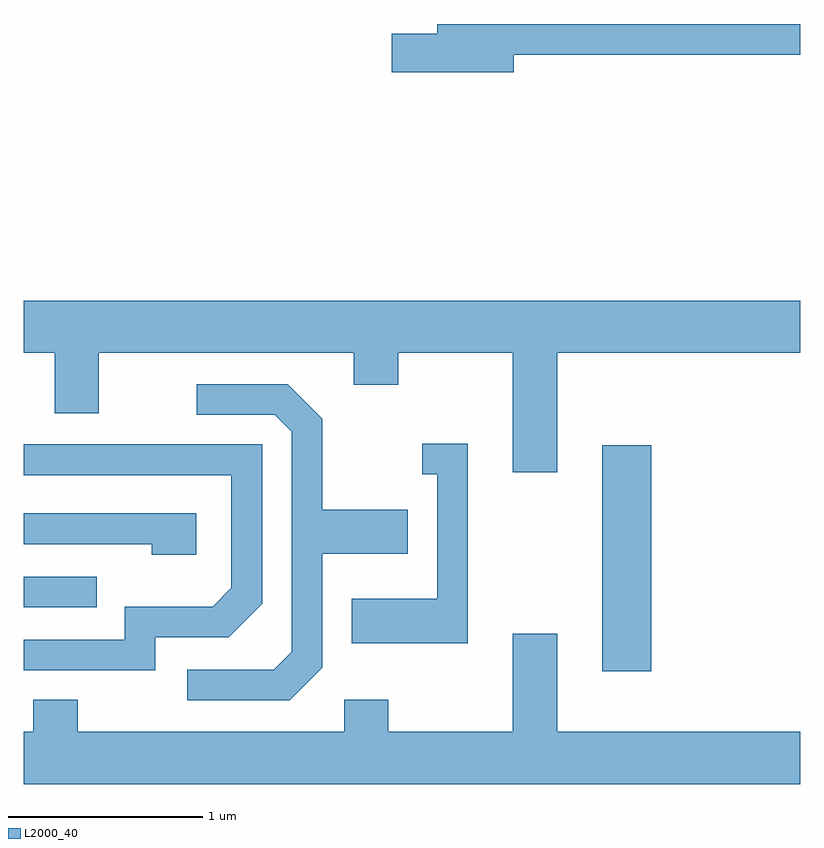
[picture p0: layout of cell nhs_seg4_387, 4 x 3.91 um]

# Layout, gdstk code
import gdstk
lib = gdstk.Library(unit=1e-6, precision=1e-09)
def R(c, l, rs):  # rectangles x0, y0, x1, y1
    for r in rs: c.add(gdstk.rectangle(r[:2], r[2:], *l))
def P(c, l, *ps):  # polygons
    for p in ps: c.add(gdstk.Polygon(p, *l))
L2000_40 = (2000, 40)

nhs_seg4_387 = lib.new_cell('nhs_seg4_387')
R(nhs_seg4_387, L2000_40, [(198.591,1348.596,198.844,1349.759), (195.611,1348.926,195.988,1349.084)])
P(nhs_seg4_387, L2000_40, [(198.134,1351.771),(199.611,1351.771),(199.611,1351.929),(197.741,1351.929),(197.741,1351.879),(197.506,1351.879),(197.506,1351.681),(198.134,1351.681)],
  [(198.359,1350.236),(199.611,1350.236),(199.611,1350.504),(195.611,1350.504),(195.611,1350.236),(195.771,1350.236),(195.771,1349.926),(195.999,1349.926),(195.999,1350.236),(197.311,1350.236),(197.311,1350.071),(197.539,1350.071),(197.539,1350.236),(198.131,1350.236),(198.131,1349.621),(198.359,1349.621)],
  [(197.149,1348.614),(197.149,1349.201),(197.589,1349.201),(197.589,1349.429),(197.149,1349.429),(197.149,1349.897),(196.972,1350.074),(196.503,1350.074),(196.503,1349.916),(196.904,1349.916),(196.991,1349.829),(196.991,1348.697),(196.899,1348.604),(196.453,1348.604),(196.453,1348.446),(196.982,1348.446)],
  [(197.899,1349.769),(197.663,1349.769),(197.663,1349.611),(197.741,1349.611),(197.741,1348.969),(197.301,1348.969),(197.301,1348.741),(197.899,1348.741)],
  [(196.289,1348.771),(196.667,1348.771),(196.839,1348.944),(196.839,1349.764),(195.611,1349.764),(195.611,1349.606),(196.681,1349.606),(196.681,1349.027),(196.584,1348.929),(196.131,1348.929),(196.131,1348.759),(195.611,1348.759),(195.611,1348.601),(196.289,1348.601)],
  [(196.499,1349.409),(195.611,1349.409),(195.611,1349.251),(196.271,1349.251),(196.271,1349.196),(196.499,1349.196)],
  [(199.611,1348.284),(198.359,1348.284),(198.359,1348.789),(198.131,1348.789),(198.131,1348.284),(197.489,1348.284),(197.489,1348.449),(197.261,1348.449),(197.261,1348.284),(195.889,1348.284),(195.889,1348.449),(195.661,1348.449),(195.661,1348.284),(195.611,1348.284),(195.611,1348.016),(199.611,1348.016)])

lib.write_gds('nhs_seg4_387.gds')
